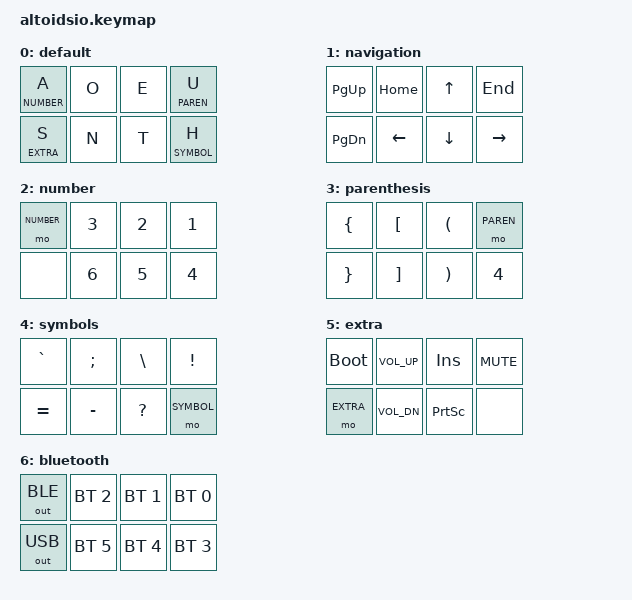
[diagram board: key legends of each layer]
#include <behaviors.dtsi>
#include <dt-bindings/zmk/keys.h>
#include <dt-bindings/zmk/outputs.h>
#include <dt-bindings/zmk/bt.h>

#define KEY_U 0
#define KEY_E 1
#define KEY_O 2
#define KEY_A 3

#define KEY_S 4
#define KEY_N 5
#define KEY_T 6
#define KEY_H 7

#define BASE    0
#define NAV     1
#define MOUSE   2
#define NUMBER  3
#define PAREN   4
#define SYMBOL  5
#define EXTRA   6
#define BT  7

#define TIMEOUT_COMBO_2 175
#define TIMEOUT_COMBO_3 175
#define TIMEOUT_COMBO_4 175
#define TIMEOUT_LAYER_HOLD 200
#define TIMEOUT_STICKY_LEADER_KEY 5000

#define KEY_U 0
#define KEY_E 1
#define KEY_O 2
#define KEY_A 3
#define KEY_S 4
#define KEY_N 5
#define KEY_T 6
#define KEY_H 7

&sk {
    release-after-ms = <TIMEOUT_STICKY_LEADER_KEY>;
};
&sl {
    release-after-ms = <TIMEOUT_STICKY_LEADER_KEY>;
};

/ {
    keymap {
        compatible = "zmk,keymap";

        default {
        // -----------------
        // | A | O | E | U |
        // | H | T | N | S |
        // -----------------
            bindings = <
                &layer_numbers_kp NUMBER A  &kp O   &kp E   &layer_parentheticals_kp PAREN U
                &layer_extra_kp EXTRA S     &kp N   &kp T   &layer_symbols_kp SYMBOL H
            >;
        };

        navigation {
        // -----------------
        // |pg+|hom|up |end|
        // |pg-|lft|dn |rgh|
        // -----------------
            bindings = <
                &kp PG_UP   &kp HOME   &kp UP     &kp END 
                &kp PG_DN   &kp LEFT   &kp DOWN   &kp RIGHT 
            >;
        };

        //mouse_layer {
        //// -----------------
        //// |sc+|bt2|up |bt1|
        //// |sc-|lft|dn |rgh|
        //// -----------------
        //    bindings = <
        //    &kp A   &kp 3   &kp 2   &kp 1
        //    &kp H   &kp 6   &kp 5   &kp 4
        //    >;
        //};

        number {
        //         8   7
        // -----------------
        // |   | 3 | 2 | 1 |
        // |   | 6 | 5 | 4 |
        // -----------------
        //         0   9
            bindings = <
                &mo NUMBER  &kp N3   &kp N2   &kp N1
                &none       &kp N6   &kp N5   &kp N4
            >;
        };

        parenthesis {
        // -----------------
        // | { | [ | ( |   |
        // | } | ] | ) |   |
        // -----------------
            bindings = <
                &kp LBRC   &kp LBKT   &kp LPAR   &mo PAREN
                &kp RBRC   &kp RBKT   &kp RPAR   &kp N4
            >;
        };

        symbols {
        // -----------------
        // | ` | ; | \ | ! |
        // | = | - | ? |   |
        // -----------------
            bindings = <
                &kp GRAVE   &kp SEMI    &kp BSLH   &kp EXCL
                &kp EQUAL   &kp MINUS   &kp QMARK   &mo SYMBOL
            >;
        };

        extra {
        // -----------------
        // |   |v +|ins|mut|
        // |   |v -|psr|   |
        // -----------------
            bindings = <
                &bootloader &kp K_VOL_UP   &kp INS     &kp K_MUTE 
                &mo EXTRA   &kp K_VOL_DN   &kp PSCRN   &none
            >;
        };

        bluetooth {
        // -----------------
        // |bt |pr3|pr2|pr1|
        // |usb|pr6|pr5|pr4|
        // -----------------
            bindings = <
                &out OUT_BLE   &bt BT_SEL 2   &bt BT_SEL 1   &bt BT_SEL 0
                &out OUT_USB   &bt BT_SEL 5   &bt BT_SEL 4   &bt BT_SEL 3
            >;
        };
    };
};

/ {
    combos {
        compatible = "zmk,combos";
		/*****************************************
		 * 2 key combos
		 *****************************************/
		// Function layer doesn't apply to non-big ardux presently
		combo_enter      { timeout-ms = <TIMEOUT_COMBO_2>; key-positions = <KEY_A KEY_H>; bindings = <&kp ENTER>; };
		combo_control    { timeout-ms = <TIMEOUT_COMBO_2>; key-positions = <KEY_A KEY_S>; bindings = <&sk LCTRL>; };
		combo_gui        { timeout-ms = <TIMEOUT_COMBO_2>; key-positions = <KEY_A KEY_N>; bindings = <&sk LGUI>; };
		combo_alt        { timeout-ms = <TIMEOUT_COMBO_2>; key-positions = <KEY_A KEY_T>; bindings = <&sk LALT>; };
		combo_backspace  { timeout-ms = <TIMEOUT_COMBO_2>; key-positions = <KEY_E KEY_S>; bindings = <&kp BACKSPACE>; };
		combo_delete     { timeout-ms = <TIMEOUT_COMBO_2>; key-positions = <KEY_E KEY_T>; bindings = <&kp DELETE>; };
		combo_shift_lock { timeout-ms = <TIMEOUT_COMBO_2>; key-positions = <KEY_E KEY_N>; bindings = <&kt LSHFT>; };

		combo_b           { layers = <BASE>; timeout-ms = <TIMEOUT_COMBO_2>; key-positions = <KEY_S KEY_H>; bindings = <&kp B>; };
		combo_c           { layers = <BASE>; timeout-ms = <TIMEOUT_COMBO_2>; key-positions = <KEY_S KEY_N>; bindings = <&kp C>; };
		combo_r           { layers = <BASE>; timeout-ms = <TIMEOUT_COMBO_2>; key-positions = <KEY_T KEY_H>; bindings = <&kp R>; };
		combo_f           { layers = <BASE>; timeout-ms = <TIMEOUT_COMBO_2>; key-positions = <KEY_U KEY_E>; bindings = <&kp F>; };
		combo_g           { layers = <BASE>; timeout-ms = <TIMEOUT_COMBO_2>; key-positions = <KEY_E KEY_S>; bindings = <&kp G>; };
		combo_u           { layers = <BASE>; timeout-ms = <TIMEOUT_COMBO_2>; key-positions = <KEY_N KEY_T>; bindings = <&kp U>; };
		combo_y           { layers = <BASE>; timeout-ms = <TIMEOUT_COMBO_2>; key-positions = <KEY_S KEY_T>; bindings = <&kp Y>; };
		combo_v           { layers = <BASE>; timeout-ms = <TIMEOUT_COMBO_2>; key-positions = <KEY_E KEY_A>; bindings = <&kp V>; };
		combo_j           { layers = <BASE>; timeout-ms = <TIMEOUT_COMBO_2>; key-positions = <KEY_O KEY_A>; bindings = <&kp J>; };
		combo_w           { layers = <BASE>; timeout-ms = <TIMEOUT_COMBO_2>; key-positions = <KEY_U KEY_A>; bindings = <&kp W>; };
		combo_k           { layers = <BASE>; timeout-ms = <TIMEOUT_COMBO_2>; key-positions = <KEY_N KEY_H>; bindings = <&kp K>; };
		combo_period       { layers = <BASE>; timeout-ms = <TIMEOUT_COMBO_2>; key-positions = <KEY_U KEY_N>; bindings = <&kp PERIOD>; };
		combo_comma       { layers = <BASE>; timeout-ms = <TIMEOUT_COMBO_2>; key-positions = <KEY_U KEY_T>; bindings = <&kp COMMA>; };
		combo_slash       { layers = <BASE>; timeout-ms = <TIMEOUT_COMBO_2>; key-positions = <KEY_U KEY_H>; bindings = <&kp SLASH>; };
		combo_exclamation { layers = <BASE>; timeout-ms = <TIMEOUT_COMBO_2>; key-positions = <KEY_O KEY_T>; bindings = <&kp EXCL>; };
		
		combo_seven { layers = <NUMBER>; timeout-ms = <TIMEOUT_COMBO_2>; key-positions = <KEY_U KEY_E>; bindings = <&kp N7>; };
		combo_eight { layers = <NUMBER>; timeout-ms = <TIMEOUT_COMBO_2>; key-positions = <KEY_E KEY_O>; bindings = <&kp N8>; };
		combo_nine  { layers = <NUMBER>; timeout-ms = <TIMEOUT_COMBO_2>; key-positions = <KEY_S KEY_N>; bindings = <&kp N9>; };
		combo_zero  { layers = <NUMBER>; timeout-ms = <TIMEOUT_COMBO_2>; key-positions = <KEY_N KEY_T>; bindings = <&kp N0>; };

		/*****************************************
		 * 3 key combos
		 *****************************************/
		combo_esc              { timeout-ms = <TIMEOUT_COMBO_3>; key-positions = <KEY_U KEY_E KEY_H>; bindings = <&kp ESC>; };
		combo_layer_navigation { timeout-ms = <TIMEOUT_COMBO_3>; key-positions = <KEY_E KEY_S KEY_T>; bindings = <&tog NAV>; };

		combo_m            { layers = <BASE>; timeout-ms = <TIMEOUT_COMBO_3>; key-positions = <KEY_N KEY_T KEY_H>; bindings = <&kp M>; };
		combo_d            { layers = <BASE>; timeout-ms = <TIMEOUT_COMBO_3>; key-positions = <KEY_U KEY_E KEY_O>; bindings = <&kp D>; };
		combo_p            { layers = <BASE>; timeout-ms = <TIMEOUT_COMBO_3>; key-positions = <KEY_S KEY_T KEY_H>; bindings = <&kp P>; };
		combo_q            { layers = <BASE>; timeout-ms = <TIMEOUT_COMBO_3>; key-positions = <KEY_U KEY_O KEY_A>; bindings = <&kp Q>; };
		combo_x            { layers = <BASE>; timeout-ms = <TIMEOUT_COMBO_3>; key-positions = <KEY_E KEY_O KEY_A>; bindings = <&kp X>; };
		combo_l            { layers = <BASE>; timeout-ms = <TIMEOUT_COMBO_3>; key-positions = <KEY_S KEY_N KEY_T>; bindings = <&kp L>; };
		combo_single_quote { layers = <BASE>; timeout-ms = <TIMEOUT_COMBO_3>; key-positions = <KEY_U KEY_N KEY_T>; bindings = <&kp SQT>; };
		
		/*****************************************
		 * 4 key combos
		 *****************************************/
		combo_tab             { timeout-ms = <TIMEOUT_COMBO_4>; key-positions = <KEY_U KEY_E KEY_O KEY_H>; bindings = <&kp TAB>; };
		combo_space           { timeout-ms = <TIMEOUT_COMBO_4>; key-positions = <KEY_S KEY_N KEY_T KEY_H>; bindings = <&kp SPACE>; };
		combo_shift           { timeout-ms = <TIMEOUT_COMBO_4>; key-positions = <KEY_S KEY_E KEY_O KEY_A>; bindings = <&sk LSHFT>; };
		combo_layer_bt_select { timeout-ms = <TIMEOUT_COMBO_4>; key-positions = <KEY_U KEY_A KEY_S KEY_H>; bindings = <&tog BT>; };
		combo_bt_clr          { timeout-ms = <TIMEOUT_COMBO_4>; key-positions = <KEY_E KEY_O KEY_N KEY_T>; bindings = <&bt BT_CLR>; };

		combo_z         { layers = <BASE>; timeout-ms = <TIMEOUT_COMBO_4>; key-positions = <KEY_U KEY_E KEY_O KEY_A>; bindings = <&kp Z>; };
		combo_caps_lock { layers = <BASE>; timeout-ms = <TIMEOUT_COMBO_4>; key-positions = <KEY_U KEY_N KEY_T KEY_H>; bindings = <&kp CAPS>; };
	};
};

/ {
	behaviors {
		layer_base_kp: layer_base_kp { compatible = "zmk,behavior-hold-tap";
						#binding-cells = <2>; tapping-term-ms = <TIMEOUT_LAYER_HOLD>; flavor = "tap-preferred"; 
						bindings = <&mo>, <&kp>; };
		layer_numbers_kp: layer_numbers_kp { compatible = "zmk,behavior-hold-tap";
						#binding-cells = <2>; tapping-term-ms = <TIMEOUT_LAYER_HOLD>; flavor = "tap-preferred"; 
						bindings = <&mo>, <&kp>; };
		layer_symbols_kp: layer_symbols_kp { compatible = "zmk,behavior-hold-tap";
						#binding-cells = <2>; tapping-term-ms = <TIMEOUT_LAYER_HOLD>; flavor = "tap-preferred"; 
						bindings = <&mo>, <&kp>; };
		layer_parentheticals_kp: layer_parentheticals_kp { compatible = "zmk,behavior-hold-tap";
						#binding-cells = <2>; tapping-term-ms = <TIMEOUT_LAYER_HOLD>; flavor = "tap-preferred";
						bindings = <&mo>, <&kp>; };
		layer_extra_kp: layer_extra_kp { compatible = "zmk,behavior-hold-tap";
						#binding-cells = <2>; tapping-term-ms = <TIMEOUT_LAYER_HOLD>; flavor = "tap-preferred";
						bindings = <&mo>, <&kp>; };
		ctrl_alt_kp: ctrl_alt_kp { compatible = "zmk,behavior-hold-tap";
						#binding-cells = <2>; tapping-term-ms = <TIMEOUT_LAYER_HOLD>; flavor = "tap-preferred";
						bindings = <&sk>, <&sk>; };
	};
};
